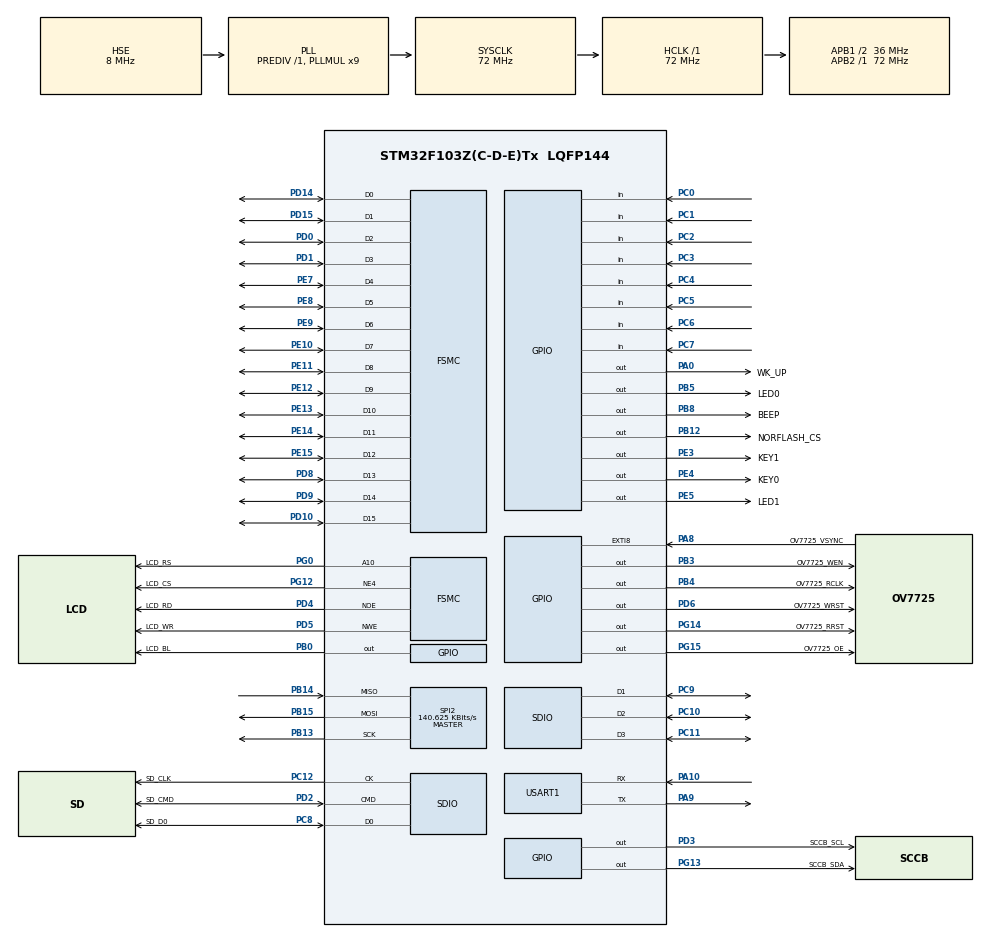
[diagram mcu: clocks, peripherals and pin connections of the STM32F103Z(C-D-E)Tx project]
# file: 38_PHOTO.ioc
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FATFS._CODE_PAGE=936
FATFS._FS_LOCK=0
FATFS._LFN_UNICODE=0
FATFS._MAX_SS=512
FATFS._STRF_ENCODE=0
FATFS._USE_LABEL=1
FATFS._USE_LFN=3
FATFS._VOLUMES=2
FSMC.AddressSetupTime1=0
FSMC.BusTurnAroundDuration1=15
FSMC.DataSetupTime1=15
FSMC.ExtendedAddressSetupTime1=0
FSMC.ExtendedDataSetupTime1=1
FSMC.ExtendedMode1=FSMC_EXTENDED_MODE_ENABLE
Mcu.Family=STM32F1
Mcu.Name=STM32F103Z(C-D-E)Tx
Mcu.Package=LQFP144
NVIC.EXTI9_5_IRQn=true\:2\:0\:true\:false\:true\:true\:true\:true
NVIC.PriorityGroup=NVIC_PRIORITYGROUP_2
NVIC.TIM4_IRQn=true\:2\:2\:true\:false\:true\:true\:true\:true
NVIC.TIM6_IRQn=true\:2\:1\:true\:false\:true\:true\:true\:true
NVIC.USART1_IRQn=true\:2\:2\:true\:false\:true\:true\:true\:true
OSC_IN.Mode=HSE-External-Oscillator
OSC_IN.Signal=RCC_OSC_IN
OSC_OUT.Mode=HSE-External-Oscillator
OSC_OUT.Signal=RCC_OSC_OUT
PA0-WKUP.GPIO_Label=WK_UP
PA0-WKUP.GPIO_PuPd=GPIO_PULLDOWN
PA0-WKUP.GPIO_Speed=GPIO_SPEED_FREQ_HIGH
PA0-WKUP.PinState=GPIO_PIN_RESET
PA0-WKUP.Signal=GPIO_Output
PA10.Mode=Asynchronous
PA10.Signal=USART1_RX
PA13.Mode=Serial_Wire
PA13.Signal=SYS_JTMS-SWDIO
PA14.Mode=Serial_Wire
PA14.Signal=SYS_JTCK-SWCLK
PA8.GPIO_Label=OV7725_VSYNC
PA8.GPIO_ModeDefaultEXTI=GPIO_MODE_IT_RISING
PA8.GPIO_PuPd=GPIO_PULLDOWN
PA8.Signal=GPXTI8
PA9.Mode=Asynchronous
PA9.Signal=USART1_TX
PB0.GPIO_Label=LCD_BL
PB0.GPIO_PuPd=GPIO_PULLUP
PB0.GPIO_Speed=GPIO_SPEED_FREQ_HIGH
PB0.PinState=GPIO_PIN_SET
PB0.Signal=GPIO_Output
PB12.GPIO_Label=NORFLASH_CS
PB12.GPIO_PuPd=GPIO_PULLUP
PB12.GPIO_Speed=GPIO_SPEED_FREQ_HIGH
PB12.PinState=GPIO_PIN_SET
PB12.Signal=GPIO_Output
PB13.Mode=Full_Duplex_Master
PB13.Signal=SPI2_SCK
PB14.Mode=Full_Duplex_Master
PB14.Signal=SPI2_MISO
PB15.Mode=Full_Duplex_Master
PB15.Signal=SPI2_MOSI
PB3.GPIO_Label=OV7725_WEN
PB3.GPIO_PuPd=GPIO_PULLUP
PB3.GPIO_Speed=GPIO_SPEED_FREQ_HIGH
PB3.PinState=GPIO_PIN_SET
PB3.Signal=GPIO_Output
PB4.GPIO_Label=OV7725_RCLK
PB4.GPIO_PuPd=GPIO_PULLUP
PB4.GPIO_Speed=GPIO_SPEED_FREQ_HIGH
PB4.PinState=GPIO_PIN_SET
PB4.Signal=GPIO_Output
PB5.GPIO_Label=LED0
PB5.GPIO_PuPd=GPIO_PULLUP
PB5.GPIO_Speed=GPIO_SPEED_FREQ_HIGH
PB5.PinState=GPIO_PIN_SET
PB5.Signal=GPIO_Output
PB8.GPIO_Label=BEEP
PB8.GPIO_ModeDefaultOutputPP=GPIO_MODE_OUTPUT_PP
PB8.GPIO_PuPd=GPIO_PULLDOWN
PB8.GPIO_Speed=GPIO_SPEED_FREQ_HIGH
PB8.PinState=GPIO_PIN_RESET
PB8.Signal=GPIO_Output
PC0.GPIO_Mode=GPIO_MODE_INPUT
PC0.GPIO_PuPd=GPIO_PULLUP
PC0.Signal=GPIO_Input
PC1.GPIO_PuPd=GPIO_PULLUP
PC1.Signal=GPIO_Input
PC10.Mode=SD_4_bits_Wide_bus
PC10.Signal=SDIO_D2
PC11.Mode=SD_4_bits_Wide_bus
PC11.Signal=SDIO_D3
PC12.GPIO_Label=SD_CLK
PC12.Mode=SD_4_bits_Wide_bus
PC12.Signal=SDIO_CK
PC14-OSC32_IN.Mode=LSE-External-Oscillator
PC14-OSC32_IN.Signal=RCC_OSC32_IN
PC15-OSC32_OUT.Mode=LSE-External-Oscillator
PC15-OSC32_OUT.Signal=RCC_OSC32_OUT
PC2.GPIO_PuPd=GPIO_PULLUP
PC2.Signal=GPIO_Input
PC3.GPIO_PuPd=GPIO_PULLUP
PC3.Signal=GPIO_Input
PC4.GPIO_PuPd=GPIO_PULLUP
PC4.Signal=GPIO_Input
PC5.GPIO_PuPd=GPIO_PULLUP
PC5.Signal=GPIO_Input
PC6.GPIO_PuPd=GPIO_PULLUP
PC6.Signal=GPIO_Input
PC7.GPIO_PuPd=GPIO_PULLUP
PC7.Signal=GPIO_Input
PC8.GPIO_Label=SD_D0
PC8.Mode=SD_4_bits_Wide_bus
PC8.Signal=SDIO_D0
PC9.Mode=SD_4_bits_Wide_bus
PC9.Signal=SDIO_D1
PD0.Signal=FSMC_D2_DA2
PD1.Signal=FSMC_D3_DA3
PD10.Signal=FSMC_D15_DA15
PD14.Signal=FSMC_D0_DA0
PD15.Signal=FSMC_D1_DA1
PD2.GPIO_Label=SD_CMD
PD2.Mode=SD_4_bits_Wide_bus
PD2.Signal=SDIO_CMD
PD3.GPIO_Label=SCCB_SCL
PD3.GPIO_PuPd=GPIO_PULLUP
PD3.GPIO_Speed=GPIO_SPEED_FREQ_HIGH
PD3.PinState=GPIO_PIN_SET
PD3.Signal=GPIO_Output
PD4.GPIO_Label=LCD_RD
PD4.Signal=FSMC_NOE
PD5.GPIO_Label=LCD_WR
PD5.Signal=FSMC_NWE
PD6.GPIO_Label=OV7725_WRST
PD6.GPIO_PuPd=GPIO_PULLUP
PD6.GPIO_Speed=GPIO_SPEED_FREQ_HIGH
PD6.PinState=GPIO_PIN_SET
PD6.Signal=GPIO_Output
PD8.Signal=FSMC_D13_DA13
PD9.Signal=FSMC_D14_DA14
PE10.Signal=FSMC_D7_DA7
PE11.Signal=FSMC_D8_DA8
PE12.Signal=FSMC_D9_DA9
PE13.Signal=FSMC_D10_DA10
PE14.Signal=FSMC_D11_DA11
PE15.Signal=FSMC_D12_DA12
PE3.GPIO_Label=KEY1
PE3.GPIO_PuPd=GPIO_PULLUP
PE3.GPIO_Speed=GPIO_SPEED_FREQ_HIGH
PE3.PinState=GPIO_PIN_SET
PE3.Signal=GPIO_Output
PE4.GPIO_Label=KEY0
PE4.GPIO_PuPd=GPIO_PULLUP
PE4.GPIO_Speed=GPIO_SPEED_FREQ_HIGH
PE4.PinState=GPIO_PIN_SET
PE4.Signal=GPIO_Output
PE5.GPIO_Label=LED1
PE5.GPIO_PuPd=GPIO_PULLUP
PE5.GPIO_Speed=GPIO_SPEED_FREQ_HIGH
PE5.PinState=GPIO_PIN_SET
PE5.Signal=GPIO_Output
PE7.Signal=FSMC_D4_DA4
PE8.Signal=FSMC_D5_DA5
PE9.Signal=FSMC_D6_DA6
PG0.GPIO_Label=LCD_RS
PG0.Signal=FSMC_A10
PG12.GPIO_Label=LCD_CS
PG12.Mode=NorPsramChipSelect4_1
PG12.Signal=FSMC_NE4
PG13.GPIO_Label=SCCB_SDA
PG13.GPIO_ModeDefaultOutputPP=GPIO_MODE_OUTPUT_OD
PG13.GPIO_PuPd=GPIO_PULLUP
PG13.GPIO_Speed=GPIO_SPEED_FREQ_HIGH
PG13.PinState=GPIO_PIN_SET
PG13.Signal=GPIO_Output
PG14.GPIO_Label=OV7725_RRST
PG14.GPIO_PuPd=GPIO_PULLUP
PG14.GPIO_Speed=GPIO_SPEED_FREQ_HIGH
PG14.PinState=GPIO_PIN_SET
PG14.Signal=GPIO_Output
PG15.GPIO_Label=OV7725_OE
PG15.GPIO_PuPd=GPIO_PULLUP
PG15.GPIO_Speed=GPIO_SPEED_FREQ_HIGH
PG15.PinState=GPIO_PIN_SET
PG15.Signal=GPIO_Output
ProjectManager.HeapSize=0x1000
ProjectManager.StackSize=0x800
ProjectManager.TargetToolchain=STM32CubeIDE
RCC.AHBFreq_Value=72000000
RCC.APB1CLKDivider=RCC_HCLK_DIV2
RCC.APB1Freq_Value=36000000
RCC.APB1TimFreq_Value=72000000
RCC.APB2Freq_Value=72000000
RCC.APB2TimFreq_Value=72000000
RCC.HCLKFreq_Value=72000000
RCC.PLLMUL=RCC_PLL_MUL9
RCC.PLLSourceVirtual=RCC_PLLSOURCE_HSE
RCC.SYSCLKFreq_VALUE=72000000
RCC.SYSCLKSource=RCC_SYSCLKSOURCE_PLLCLK
RCC.USBFreq_Value=72000000
SDIO.ClockDiv=0x04
SDIO.HardwareFlowControl=SDIO_HARDWARE_FLOW_CONTROL_ENABLE
SH.FSMC_A10.0=FSMC_A10,A10_1
SH.FSMC_D0_DA0.0=FSMC_D0,16b-d1
SH.FSMC_D10_DA10.0=FSMC_D10,16b-d1
SH.FSMC_D11_DA11.0=FSMC_D11,16b-d1
SH.FSMC_D12_DA12.0=FSMC_D12,16b-d1
SH.FSMC_D13_DA13.0=FSMC_D13,16b-d1
SH.FSMC_D14_DA14.0=FSMC_D14,16b-d1
SH.FSMC_D15_DA15.0=FSMC_D15,16b-d1
SH.FSMC_D1_DA1.0=FSMC_D1,16b-d1
SH.FSMC_D2_DA2.0=FSMC_D2,16b-d1
SH.FSMC_D3_DA3.0=FSMC_D3,16b-d1
SH.FSMC_D4_DA4.0=FSMC_D4,16b-d1
SH.FSMC_D5_DA5.0=FSMC_D5,16b-d1
SH.FSMC_D6_DA6.0=FSMC_D6,16b-d1
SH.FSMC_D7_DA7.0=FSMC_D7,16b-d1
SH.FSMC_D8_DA8.0=FSMC_D8,16b-d1
SH.FSMC_D9_DA9.0=FSMC_D9,16b-d1
SH.FSMC_NOE.0=FSMC_NOE,Lcd1
SH.FSMC_NWE.0=FSMC_NWE,Lcd1
SPI2.BaudRatePrescaler=SPI_BAUDRATEPRESCALER_256
SPI2.CLKPhase=SPI_PHASE_2EDGE
SPI2.CLKPolarity=SPI_POLARITY_HIGH
SPI2.CalculateBaudRate=140.625 KBits/s
SPI2.Direction=SPI_DIRECTION_2LINES
SPI2.Mode=SPI_MODE_MASTER
SPI2.VirtualType=VM_MASTER
TIM4.AutoReloadPreload=TIM_AUTORELOAD_PRELOAD_ENABLE
TIM4.Period=1000 - 1
TIM4.Prescaler=720 - 1
TIM6.AutoReloadPreload=TIM_AUTORELOAD_PRELOAD_ENABLE
TIM6.Period=10000 - 1
TIM6.Prescaler=7200 - 1
USART1.VirtualMode=VM_ASYNC
VP_FATFS_VS_Generic.Mode=User_defined
VP_TIM4_VS_ClockSourceINT.Mode=Internal
VP_TIM6_VS_ClockSourceINT.Mode=Enable_Timer
board=custom

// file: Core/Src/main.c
/* USER CODE BEGIN Header */
/**
 ****************************************************************************************************
 * @file        main.c
 * @author      正点原子团队(ALIENTEK)
 * @version     V1.0
 * @date        2024-01-01
 * @brief       图片显示 实验
 * @license     Copyright (c) 2020-2032, 广州市星翼电子科技有限公司
 ****************************************************************************************************
 * @attention
 *
 * 实验平台:正点原子 STM32F103开发板
 * 在线视频:www.yuanzige.com
 * 技术论坛:www.openedv.com
 * 公司网址:www.alientek.com
 * 购买地址:openedv.taobao.com
 *
 ****************************************************************************************************
 */
/* USER CODE END Header */
#include "main.h"
#include "fatfs.h"
#include "sdio.h"
#include "spi.h"
#include "tim.h"
#include "usart.h"
#include "gpio.h"
#include "fsmc.h"

/* USER CODE BEGIN Includes */
#include "../../BSP/LED/led.h"
#include "../../BSP/BEEP/beep.h"
#include "../../BSP/KEY/key.h"
#include "../../BSP/LCD/lcd.h"
#include "../../BSP/NORFLASH/norflash.h"
#include "../../SYSTEM/delay/delay.h"
#include "../../BSP/OV7725/ov7725.h"
#include "../../ATK_Middlewares/MALLOC/malloc.h"
#include "../../ATK_Middlewares/PICTURE/piclib.h"
#include "../../FatFs/exfuns/exfuns.h"
#include "../../ATK_Middlewares/TEXT/text.h"
#include "ff.h"
#include "math.h"
/* USER CODE END Includes */

/* USER CODE BEGIN PTD */

extern uint8_t g_ov7725_vsta;       /* 在exit.c里 面定义 */
extern uint8_t g_ov7725_frame;      /* 在timer.c里面定义 */

/*
 * 受限于OV7725模组的FIFO的容量，无法存下一帧640*480的画像，我们这里QVGA和VGA模式都采用
 * 320*240的分辨率,VGA模式下支持缩放，所以可以使用更小的分辨率来显示，读者可以根据需要自行修改
 */
uint16_t g_ov7725_wwidth  = 320;    /* 默认窗口宽度为320 */
uint16_t g_ov7725_wheight = 240;    /* 默认窗口高度为240 */

const char *LMODE_TBL[6]   = {"Auto", "Sunny", "Cloudy", "Office", "Home", "Night"};                    /* 6种光照模式 */
const char *EFFECTS_TBL[7] = {"Normal", "Negative", "B&W", "Redish", "Greenish", "Bluish", "Antique"};  /* 7种特效 */

/**
 * @brief       更新LCD显示
 *   @note      该函数将OV7725模块FIFO里面的数据拷贝到LCD屏幕上
 * @param       无
 * @retval      无
 */
void ov7725_camera_refresh(void)
{
    uint32_t i, j;
    uint16_t color;

    if (g_ov7725_vsta)                  /* 有帧中断更新 */
    {
        lcd_scan_dir(U2D_L2R);          /* 从上到下, 从左到右 */
        lcd_set_window((lcddev.width - g_ov7725_wwidth) / 2, (lcddev.height - g_ov7725_wheight) / 2,
                        g_ov7725_wwidth, g_ov7725_wheight);     /* 将显示区域设置到屏幕中央 */

        lcd_write_ram_prepare();        /* 开始写入GRAM */

        OV7725_RRST(0);                 /* 开始复位读指针 */
        OV7725_RCLK(0);
        OV7725_RCLK(1);
        OV7725_RCLK(0);
        OV7725_RRST(1);                 /* 复位读指针结束 */
        OV7725_RCLK(1);

        for (i = 0; i < g_ov7725_wheight; i++)
        {
            for (j = 0; j < g_ov7725_wwidth; j++)
            {
                OV7725_RCLK(0);
                color = OV7725_DATA;    /* 读数据 */
                OV7725_RCLK(1);
                color <<= 8;
                OV7725_RCLK(0);
                color |= OV7725_DATA;   /* 读数据 */
                OV7725_RCLK(1);
                LCD->LCD_RAM = color;
            }
        }

        g_ov7725_vsta = 0;              /* 清零帧中断标记 */
        g_ov7725_frame++;
        lcd_scan_dir(DFT_SCAN_DIR);     /* 恢复默认扫描方向 */
    }
}

/**
 * @brief       文件名自增（避免覆盖）
 *   @note      组合成形如 "0:PHOTO/PIC13141.bmp" 的文件名
 * @param       pname : 有效的文件名
 * @retval      无
 */
void camera_new_pathname(char *pname)
{
    uint8_t res;
    uint16_t index = 0;
    FIL *ftemp;

    ftemp = (FIL *)mymalloc(SRAMIN, sizeof(FIL));   /* 开辟FIL字节的内存区域 */

    if (ftemp == NULL) return;                      /* 内存申请失败 */

    while (index < 0XFFFF)
    {
        sprintf((char *)pname, "0:PHOTO/PIC%05d.bmp", index);
        res = f_open(ftemp, (const TCHAR *)pname, FA_READ); /* 尝试打开这个文件 */

        if (res == FR_NO_FILE)break;    /* 该文件名不存在, 正是我们需要的 */

        index++;
    }
    myfree(SRAMIN, ftemp);
}

/* USER CODE END PTD */

void SystemClock_Config(void);

int main(void)
{
  /* USER CODE BEGIN 1 */
    uint8_t res;
    char *pname;                                /* 带路径的文件名 */
    uint8_t key;                                /* 键值 */
    uint8_t i;
    uint8_t sd_ok = 1;                          /* 0, sd卡不正常; 1, SD卡正常 */
    uint8_t vga_mode = 0;                       /* 0, QVGA模式(320 * 240); 1, VGA模式(640 * 480) */

  /* USER CODE END 1 */

  /* MCU Configuration--------------------------------------------------------*/

  /* Reset of all peripherals, Initializes the Flash interface and the Systick. */
  HAL_Init();

  /* Configure the system clock */
  SystemClock_Config();

  /* USER CODE BEGIN SysInit */
  delay_init(72);						   	/* 初始化延时函数 */
  /* USER CODE END SysInit */

  /* Initialize all configured peripherals */
  MX_GPIO_Init();
  MX_FSMC_Init();
  MX_USART1_UART_Init();
  MX_SDIO_SD_Init();
  MX_FATFS_Init();
  MX_SPI2_Init();
  MX_TIM4_Init();
  MX_TIM6_Init();
  /* USER CODE BEGIN 2 */
  lcd_init();                         		/* 初始化LCD */
  norflash_init();                    		/* 初始化NORFLASH */
  my_mem_init(SRAMIN);               		/* 初始化内部SRAM内存池 */
  exfuns_init();                 			/* 为fatfs相关变量申请内存 */

  f_mount(fs[0], "0:", 1);       			/* 挂载SD卡 */
  f_mount(fs[1], "1:", 1);       			/* 挂载SPI_FLASH卡 */

  piclib_init();                         	/* 初始化画图 */
  while (fonts_init())                    	/* 检查字库 */
  {
      lcd_show_string(30, 50, 200, 16, 16, "Font Error!", RED);
      delay_ms(200);
      lcd_fill(30, 50, 240, 66, WHITE);   	/* 清除显示 */
      delay_ms(200);
  }

  text_show_string(30, 50, 200, 16, "正点原子STM32开发板", 16, 0, RED);
  text_show_string(30, 70, 200, 16, "照相机 实验", 16, 0, RED);
  text_show_string(30, 90, 200, 16, "KEY0:拍照(bmp格式)", 16, 0, RED);
  res = f_mkdir("0:/PHOTO");             	/* 创建PHOTO文件夹 */

  if (res != FR_EXIST && res != FR_OK)    	/* 发生了错误 */
  {
      res = f_mkdir("0:/PHOTO");          	/* 创建PHOTO文件夹 */
      text_show_string(30, 110, 240, 16, "SD卡错误!", 16, 0, RED);
      delay_ms(200);
      text_show_string(30, 110, 240, 16, "拍照功能将不可用!", 16, 0, RED);
      delay_ms(200);
      sd_ok = 0;
  }

  while (ov7725_init() != 0)  				/* 初始化OV7725 失败? */
  {
      lcd_show_string(30, 130, 200, 16, 16, "OV7725 Error!!", RED);
      delay_ms(200);
      lcd_fill(30, 130, 239, 246, WHITE);
      delay_ms(200);
  }

  lcd_show_string(30, 130, 200, 16, 16, "OV7725 Init OK       ", RED);

  delay_ms(1500);

  /* 输出窗口大小设置 QVGA / VGA 模式 */
  g_ov7725_wwidth = 320;                  /* 默认窗口宽度为320 */
  g_ov7725_wheight = 240;                 /* 默认窗口高度为240 */
  ov7725_window_set(g_ov7725_wwidth, g_ov7725_wheight, vga_mode);

  ov7725_light_mode(0);                   /* 自动 灯光模式 */
  ov7725_color_saturation(4);             /* 默认 色彩饱和度 */
  ov7725_brightness(4);                   /* 默认 亮度 */
  ov7725_contrast(4);                     /* 默认 对比度 */
  ov7725_special_effects(0);              /* 默认 特效 */

  OV7725_OE(0);                           /* 使能OV7725 FIFO数据输出 */

  pname = mymalloc(SRAMIN, 30);           /* 为带路径的文件名分配30个字节的内存 */
  lcd_clear(BLACK);

  /* USER CODE END 2 */

  /* Infinite loop */
  /* USER CODE BEGIN WHILE */
  while (1)
  {
	  key = key_scan(0);
	  if (key == KEY0_PRES)
	  {
		  if (sd_ok)
		  {
			  LED1(0);                    /* 点亮LED1,提示正在拍照 */
			  camera_new_pathname(pname); /* 得到文件名 */

			  /* 编码成bmp图片 */
			  if (bmp_encode((uint8_t *)pname, (lcddev.width - g_ov7725_wheight) / 2, (lcddev.height - g_ov7725_wwidth) / 2, g_ov7725_wheight, g_ov7725_wwidth, 0))
			  {
				  text_show_string(40, 110, 240, 12, "写入文件错误!", 12, 0, RED);
			  }
			  else
			  {
				  text_show_string(40, 110, 240, 12, "拍照成功!", 12, 0, BLUE);
				  text_show_string(40, 130, 240, 12, "保存为:", 12, 0, BLUE);
				  text_show_string(40 + 42, 130, 240, 12, pname, 12, 0, BLUE);
				  BEEP(1);        /* 蜂鸣器短叫，提示拍照完成 */
				  delay_ms(100);
			  }
		  }
		  else     /* 提示SD卡错误 */
		  {
			  text_show_string(40, 110, 240, 12, "SD卡错误!", 12, 0, RED);
			  text_show_string(40, 130, 240, 12, "拍照功能不可用!", 12, 0, RED);
		  }

		  BEEP(0);        /* 关闭蜂鸣器 */
		  LED1(1);        /* 关闭LED1 */
		  delay_ms(1800); /* 等待1.8秒钟 */
		  lcd_clear(BLACK);
	  }
	  else
	  {
		  delay_ms(5);
	  }

	  ov7725_camera_refresh();/* 更新显示 */

	  i++;

	  if (i >= 15)
	  {
		  i = 0;
		  LED0_TOGGLE();      /* LED0闪烁 */
	  }
    /* USER CODE END WHILE */

  }
}

void SystemClock_Config(void)
{
  RCC_OscInitTypeDef RCC_OscInitStruct = {0};
  RCC_ClkInitTypeDef RCC_ClkInitStruct = {0};

  /** Initializes the RCC Oscillators according to the specified parameters
  * in the RCC_OscInitTypeDef structure.
  */
  RCC_OscInitStruct.OscillatorType = RCC_OSCILLATORTYPE_HSE;
  RCC_OscInitStruct.HSEState = RCC_HSE_ON;
  RCC_OscInitStruct.HSEPredivValue = RCC_HSE_PREDIV_DIV1;
  RCC_OscInitStruct.HSIState = RCC_HSI_ON;
  RCC_OscInitStruct.PLL.PLLState = RCC_PLL_ON;
  RCC_OscInitStruct.PLL.PLLSource = RCC_PLLSOURCE_HSE;
  RCC_OscInitStruct.PLL.PLLMUL = RCC_PLL_MUL9;
  if (HAL_RCC_OscConfig(&RCC_OscInitStruct) != HAL_OK)
  {
    Error_Handler();
  }

  /** Initializes the CPU, AHB and APB buses clocks
  */
  RCC_ClkInitStruct.ClockType = RCC_CLOCKTYPE_HCLK|RCC_CLOCKTYPE_SYSCLK
                              |RCC_CLOCKTYPE_PCLK1|RCC_CLOCKTYPE_PCLK2;
  RCC_ClkInitStruct.SYSCLKSource = RCC_SYSCLKSOURCE_PLLCLK;
  RCC_ClkInitStruct.AHBCLKDivider = RCC_SYSCLK_DIV1;
  RCC_ClkInitStruct.APB1CLKDivider = RCC_HCLK_DIV2;
  RCC_ClkInitStruct.APB2CLKDivider = RCC_HCLK_DIV1;

  if (HAL_RCC_ClockConfig(&RCC_ClkInitStruct, FLASH_LATENCY_2) != HAL_OK)
  {
    Error_Handler();
  }
}

void Error_Handler(void)
{
  __disable_irq();
  while (1)
  {
  }
}
